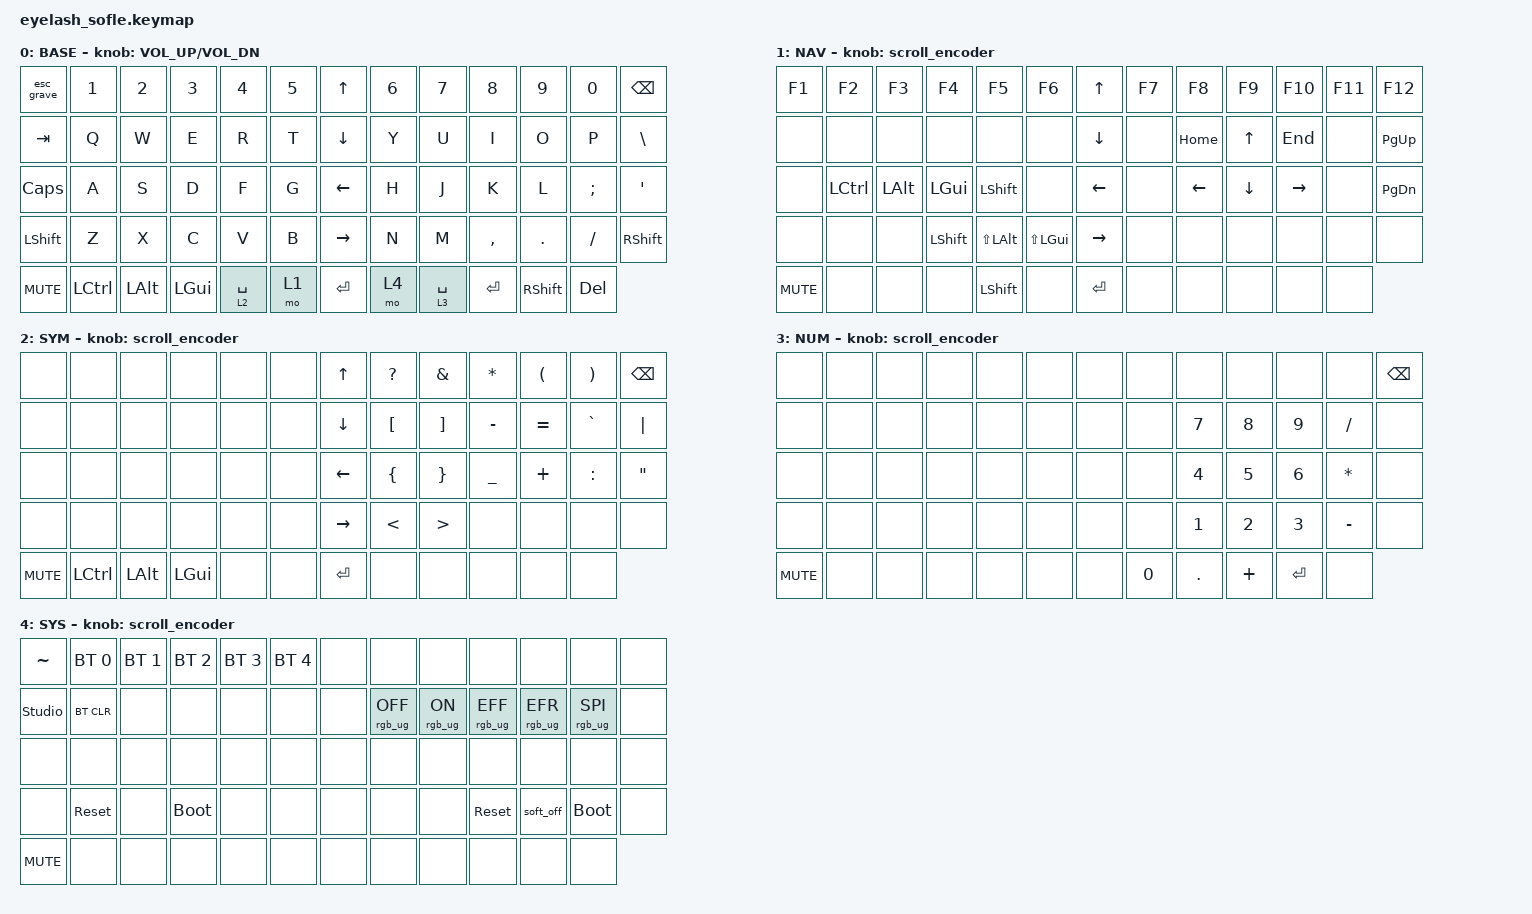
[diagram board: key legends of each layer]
#define ZMK_POINTING_DEFAULT_MOVE_VAL 1200  // 600
#define ZMK_POINTING_DEFAULT_SCRL_VAL 25    // 10

#include <input/processors.dtsi>
#include <zephyr/dt-bindings/input/input-event-codes.h>
#include <behaviors.dtsi>
#include <dt-bindings/zmk/bt.h>
#include <dt-bindings/zmk/keys.h>
#include <dt-bindings/zmk/pointing.h>
#include <dt-bindings/zmk/rgb.h>

&mmv_input_listener {
    input-processors = <&zip_xy_scaler 2 1>;
};

&msc_input_listener {
    input-processors = <&zip_scroll_scaler 2 1>;
};

&msc {
    acceleration-exponent = <1>;    // 0
    time-to-max-speed-ms = <100>;   // 300
    delay-ms = <0>;                 // 0
};

&mmv {
    time-to-max-speed-ms = <500>;
    acceleration-exponent = <1>;
    trigger-period-ms = <16>;
};

&soft_off {
    hold-time-ms = <2000>;
};

/ {
    scroll_encoder: scroll_encoder {
        compatible = "zmk,behavior-sensor-rotate";
        #sensor-binding-cells = <0>;
        bindings = <&msc SCRL_DOWN>, <&msc SCRL_UP>;
        tap-ms = <100>;
    };

    behaviors {
        esc_grave: esc_grave {
            compatible = "zmk,behavior-mod-morph";
            #binding-cells = <0>;
            bindings = <&kp ESC>, <&kp GRAVE>;
            mods = <(MOD_LCTL)>;
            keep-mods = <(MOD_LCTL)>;
        };
    };

    combos {
        compatible = "zmk,combos";

        softoff {
            bindings = <&soft_off>;
            key-positions = <14 28 40>;
        };
    };

    macros {
        SHIFT_MCLK: SHIFT_MCLK {
            compatible = "zmk,behavior-macro";
            #binding-cells = <0>;
            bindings =
                <&macro_press>,
                <&kp LEFT_SHIFT>,
                <&macro_press>,
                <&mkp MB3>,
                <&macro_pause_for_release>,
                <&macro_release>,
                <&kp LEFT_SHIFT &mkp MB3>;
            label = "SHIFT_MCLK";
        };
    };

    keymap {
        compatible = "zmk,keymap";

        layer0 {
            display-name = "BASE";
            bindings = <
&esc_grave  &kp N1     &kp N2        &kp N3        &kp N4       &kp N5  &kp UP_ARROW     &kp N6  &kp N7       &kp N8     &kp N9           &kp N0      &kp BACKSPACE
&kp TAB     &kp Q      &kp W         &kp E         &kp R        &kp T   &kp DOWN_ARROW   &kp Y   &kp U        &kp I      &kp O            &kp P       &kp BSLH
&kp CAPS    &kp A      &kp S         &kp D         &kp F        &kp G   &kp LEFT_ARROW   &kp H   &kp J        &kp K      &kp L            &kp SEMI    &kp APOS
&kp LSHFT   &kp Z      &kp X         &kp C         &kp V        &kp B   &kp RIGHT_ARROW  &kp N   &kp M        &kp COMMA  &kp DOT          &kp FSLH    &kp RIGHT_SHIFT
&kp C_MUTE  &kp LCTRL  &kp LEFT_ALT  &kp LEFT_GUI  &lt 2 SPACE  &mo 1   &kp ENTER        &mo 4   &lt 3 SPACE  &kp ENTER  &kp RIGHT_SHIFT  &kp DELETE
            >;
            sensor-bindings = <&inc_dec_kp C_VOLUME_UP C_VOL_DN>;
        };

        layer_1 {
            display-name = "NAV";
            bindings = <
&kp F1      &kp F2     &kp F3        &kp F4          &kp F5            &kp F6            &kp UP_ARROW     &kp F7  &kp F8    &kp F9    &kp F10    &kp F11  &kp F12
&none       &none      &none         &none           &none             &none             &kp DOWN_ARROW   &none   &kp HOME  &kp UP    &kp END    &none    &kp PG_UP
&none       &kp LCTRL  &kp LEFT_ALT  &kp LEFT_GUI    &kp LSHFT         &none             &kp LEFT_ARROW   &none   &kp LEFT  &kp DOWN  &kp RIGHT  &none    &kp PG_DN
&none       &none      &none         &kp LEFT_SHIFT  &kp LS(LEFT_ALT)  &kp LS(LEFT_GUI)  &kp RIGHT_ARROW  &none   &none     &none     &none      &none    &none
&kp C_MUTE  &none      &none         &none           &kp LSHFT         &none             &kp ENTER        &none   &none     &none     &none      &none
            >;
            sensor-bindings = <&scroll_encoder>;
        };

        layer_2 {
            display-name = "SYM";
            bindings = <
&none       &none      &none         &none         &none  &none  &kp UP_ARROW     &kp QUESTION      &kp AMPERSAND      &kp ASTERISK    &kp LEFT_PARENTHESIS   &kp RIGHT_PARENTHESIS  &kp BACKSPACE
&none       &none      &none         &none         &none  &none  &kp DOWN_ARROW   &kp LEFT_BRACKET  &kp RIGHT_BRACKET  &kp MINUS       &kp EQUAL              &kp GRAVE              &kp PIPE
&none       &none      &none         &none         &none  &none  &kp LEFT_ARROW   &kp LBRC          &kp RBRC           &kp UNDERSCORE  &kp PLUS               &kp COLON              &kp DOUBLE_QUOTES
&none       &none      &none         &none         &none  &none  &kp RIGHT_ARROW  &kp LT            &kp GT             &none           &none                  &none                  &none
&kp C_MUTE  &kp LCTRL  &kp LEFT_ALT  &kp LEFT_GUI  &none  &none  &kp ENTER        &none             &none              &none           &none                  &none
            >;
            sensor-bindings = <&scroll_encoder>;
        };

        layer_3 {
            display-name = "NUM";
            bindings = <
&none       &none  &none  &none  &none  &none  &none  &none   &none    &none     &none      &none      &kp BACKSPACE
&none       &none  &none  &none  &none  &none  &none  &none   &kp N7   &kp N8    &kp N9     &kp FSLH   &none
&none       &none  &none  &none  &none  &none  &none  &none   &kp N4   &kp N5    &kp N6     &kp ASTRK  &none
&none       &none  &none  &none  &none  &none  &none  &none   &kp N1   &kp N2    &kp N3     &kp MINUS  &none
&kp C_MUTE  &none  &none  &none  &none  &none  &none  &kp N0  &kp DOT  &kp PLUS  &kp ENTER  &none
            >;
            sensor-bindings = <&scroll_encoder>;
        };

        layer_4 {
            display-name = "SYS";
            bindings = <
&kp TILDE       &bt BT_SEL 0  &bt BT_SEL 1  &bt BT_SEL 2  &bt BT_SEL 3  &bt BT_SEL 4  &none  &none            &none           &none            &none            &none            &none
&studio_unlock  &bt BT_CLR    &none         &none         &none         &none         &none  &rgb_ug RGB_OFF  &rgb_ug RGB_ON  &rgb_ug RGB_EFF  &rgb_ug RGB_EFR  &rgb_ug RGB_SPI  &none
&none           &none         &none         &none         &none         &none         &none  &none            &none           &none            &none            &none            &none
&none           &sys_reset    &none         &bootloader   &none         &none         &none  &none            &none           &sys_reset       &soft_off        &bootloader      &none
&kp C_MUTE      &none         &none         &none         &none         &none         &none  &none            &none           &none            &none            &none
            >;
            sensor-bindings = <&scroll_encoder>;
        };
    };
};
